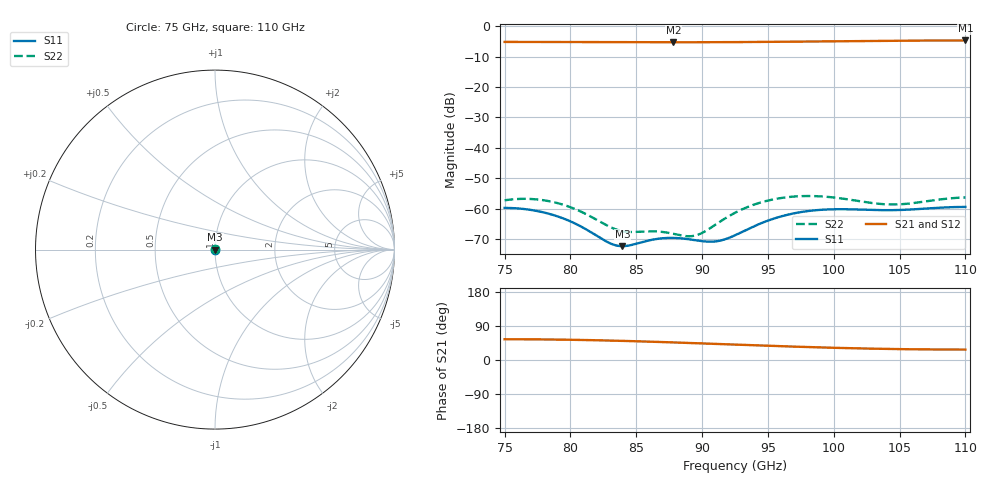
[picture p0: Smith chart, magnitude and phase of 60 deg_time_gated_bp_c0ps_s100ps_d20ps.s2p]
# Hz S RI R 50.000000
! Metas.Vna.Tools, 2.4.7724.19584
! Metas.Vna.Data, 2.4.7724.19560
! Created: UTC 2021.04.29 12:40:11
! FREQ  re:S1,1  im:S1,1  re:S2,1  im:S2,1  re:S1,2  im:S1,2  re:S2,2  im:S2,2
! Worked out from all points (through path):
!   1401 points, 75 GHz to 110 GHz, reference 50 ohm
!   highest |S21| = -4.70 dB at 110 GHz (marker M1); lowest = -5.3 dB at 87.83 GHz (marker M2)
!   lowest |S11| = -72.3 dB at 83.95 GHz (marker M3), VSWR 1.00, Z = 50 + j0.0145 ohm
!   |S11| at or under -10 dB: start of sweep to end of sweep
!   |S22| runs from -69.1 to -55.8 dB; largest |S21 - S12| = 0.024
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7.5e10  -0.000533 -0.000882  0.3174 0.4497  0.3287 0.4412  -0.000119 0.00137
7.6525e10  -0.000526 -0.000834  0.3183 0.4488  0.3296 0.4404  -0.000368 0.00141
7.8e10  -0.000504 -0.000703  0.3208 0.4462  0.3319 0.4381  -0.000541 0.00126
7.945e10  -0.000464 -0.000514  0.3249 0.4421  0.3357 0.4345  -0.000628 0.000978
8.085e10  -0.000405 -0.000299  0.3303 0.4367  0.3407 0.4298  -0.00063 0.000621
8.295e10  -0.000273 1.97e-05  0.3408 0.4263  0.3503 0.4207  -0.000503 7.16e-05
8.345e10  -0.000235 8.55e-05  0.3437 0.4234  0.353 0.4182  -0.000455 -4.21e-05
8.395e10  -0.000194 0.000145  0.3467 0.4204  0.3558 0.4156  -0.000402 -0.000144
8.6675e10  4.52e-05 0.000318  0.3656 0.402  0.3731 0.3998  -5.5e-05 -0.000418
8.7825e10  0.000139 0.0003  0.3746 0.3935  0.3812 0.3925  0.000103 -0.000372
8.8925e10  0.000214 0.000233  0.3836 0.3849  0.3894 0.3853  0.000254 -0.000245
8.9675e10  0.000252 0.000161  0.3899 0.379  0.3951 0.3803  0.000353 -0.000119
9.1125e10  0.000291 -2.61e-05  0.4025 0.3673  0.4065 0.3704  0.000535 0.000187
9.25e10  0.000276 -0.00024  0.4147 0.3561  0.4174 0.3611  0.000687 0.000511
9.3825e10  0.000214 -0.000452  0.4265 0.3454  0.428 0.3523  0.000805 0.000811
9.5225e10  0.0001 -0.000654  0.4389 0.3344  0.439 0.3432  0.000888 0.00108
9.675e10  -6.58e-05 -0.000816  0.452 0.3229  0.4506 0.3339  0.000913 0.00127
9.835e10  -0.000267 -0.000892  0.465 0.3116  0.4622 0.3247  0.000847 0.00137
1.00375e11  -0.000521 -0.000831  0.4801 0.2987  0.4754 0.3145  0.000617 0.00136
1.04175e11  -0.000878 -0.000351  0.5023 0.2801  0.4949 0.2998  -0.000174 0.00116
1.055e11  -0.00095 -0.000145  0.5078 0.2756  0.4997 0.2963  -0.000489 0.0011
1.1e11  -0.00104 0.000244  0.5161 0.2688  0.507 0.291  -0.00122 0.000927
